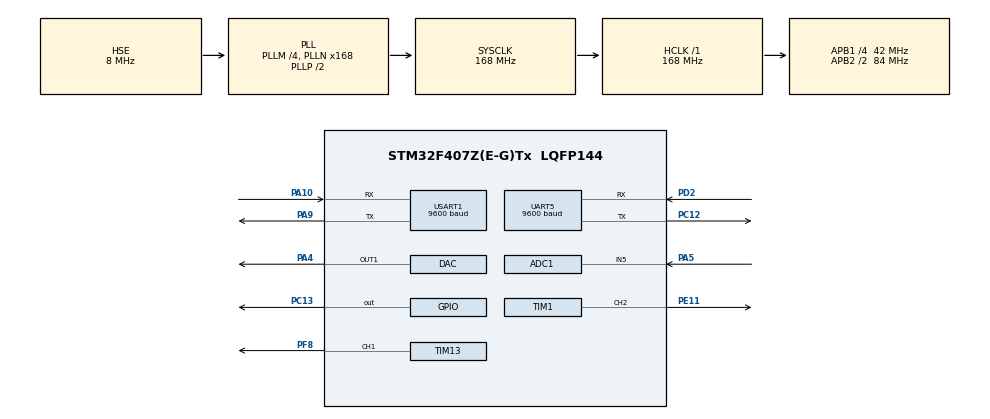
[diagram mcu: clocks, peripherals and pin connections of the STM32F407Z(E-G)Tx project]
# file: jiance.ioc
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ADC1.Channel-0\#ChannelRegularConversion=ADC_CHANNEL_5
ADC1.ClockPrescaler=ADC_CLOCK_SYNC_PCLK_DIV8
ADC1.ContinuousConvMode=DISABLE
ADC1.DMAContinuousRequests=ENABLE
ADC1.ExternalTrigConv=ADC_EXTERNALTRIGCONV_T3_TRGO
ADC1.NbrOfConversionFlag=1
ADC1.Rank-0\#ChannelRegularConversion=1
ADC1.SamplingTime-0\#ChannelRegularConversion=ADC_SAMPLETIME_480CYCLES
ADC1.master=1
DAC.DAC_Trigger=DAC_TRIGGER_T6_TRGO
Dma.ADC1.0.Direction=DMA_PERIPH_TO_MEMORY
Dma.ADC1.0.FIFOMode=DMA_FIFOMODE_DISABLE
Dma.ADC1.0.Instance=DMA2_Stream0
Dma.ADC1.0.MemDataAlignment=DMA_MDATAALIGN_HALFWORD
Dma.ADC1.0.MemInc=DMA_MINC_ENABLE
Dma.ADC1.0.Mode=DMA_CIRCULAR
Dma.ADC1.0.PeriphDataAlignment=DMA_PDATAALIGN_HALFWORD
Dma.ADC1.0.PeriphInc=DMA_PINC_DISABLE
Dma.ADC1.0.Priority=DMA_PRIORITY_HIGH
Dma.DAC1.2.Direction=DMA_MEMORY_TO_PERIPH
Dma.DAC1.2.FIFOMode=DMA_FIFOMODE_DISABLE
Dma.DAC1.2.Instance=DMA1_Stream5
Dma.DAC1.2.MemDataAlignment=DMA_MDATAALIGN_HALFWORD
Dma.DAC1.2.MemInc=DMA_MINC_ENABLE
Dma.DAC1.2.Mode=DMA_CIRCULAR
Dma.DAC1.2.PeriphDataAlignment=DMA_PDATAALIGN_HALFWORD
Dma.DAC1.2.PeriphInc=DMA_PINC_DISABLE
Dma.DAC1.2.Priority=DMA_PRIORITY_HIGH
Dma.Request0=ADC1
Dma.Request1=TIM1_CH2
Dma.Request2=DAC1
Dma.TIM1_CH2.1.Direction=DMA_MEMORY_TO_PERIPH
Dma.TIM1_CH2.1.FIFOMode=DMA_FIFOMODE_DISABLE
Dma.TIM1_CH2.1.Instance=DMA2_Stream2
Dma.TIM1_CH2.1.MemDataAlignment=DMA_MDATAALIGN_HALFWORD
Dma.TIM1_CH2.1.MemInc=DMA_MINC_ENABLE
Dma.TIM1_CH2.1.Mode=DMA_NORMAL
Dma.TIM1_CH2.1.PeriphDataAlignment=DMA_PDATAALIGN_HALFWORD
Dma.TIM1_CH2.1.PeriphInc=DMA_PINC_DISABLE
Dma.TIM1_CH2.1.Priority=DMA_PRIORITY_HIGH
Mcu.Family=STM32F4
Mcu.Name=STM32F407Z(E-G)Tx
Mcu.Package=LQFP144
NVIC.DMA1_Stream5_IRQn=true\:0\:0\:false\:false\:true\:false\:true\:true
NVIC.DMA2_Stream0_IRQn=true\:0\:0\:false\:false\:true\:false\:true\:true
NVIC.DMA2_Stream2_IRQn=true\:0\:0\:false\:false\:true\:false\:true\:true
NVIC.PriorityGroup=NVIC_PRIORITYGROUP_4
NVIC.UART5_IRQn=true\:0\:0\:false\:false\:true\:true\:true\:true
NVIC.USART1_IRQn=true\:0\:0\:false\:false\:true\:true\:true\:true
PA10.Mode=Asynchronous
PA10.Signal=USART1_RX
PA13.Mode=Serial_Wire
PA13.Signal=SYS_JTMS-SWDIO
PA14.Mode=Serial_Wire
PA14.Signal=SYS_JTCK-SWCLK
PA4.Signal=COMP_DAC1_group
PA5.Signal=ADCx_IN5
PA9.Mode=Asynchronous
PA9.Signal=USART1_TX
PC12.Mode=Asynchronous
PC12.Signal=UART5_TX
PC13-ANTI_TAMP.Signal=GPIO_Output
PD2.Mode=Asynchronous
PD2.Signal=UART5_RX
PE11.Signal=S_TIM1_CH2
PF8.Signal=S_TIM13_CH1
PH0-OSC_IN.Mode=HSE-External-Oscillator
PH0-OSC_IN.Signal=RCC_OSC_IN
PH1-OSC_OUT.Mode=HSE-External-Oscillator
PH1-OSC_OUT.Signal=RCC_OSC_OUT
ProjectManager.HeapSize=0x200
ProjectManager.StackSize=0x400
ProjectManager.TargetToolchain=MDK-ARM V5.32
RCC.48MHZClocksFreq_Value=84000000
RCC.AHBFreq_Value=168000000
RCC.APB1CLKDivider=RCC_HCLK_DIV4
RCC.APB1Freq_Value=42000000
RCC.APB1TimFreq_Value=84000000
RCC.APB2CLKDivider=RCC_HCLK_DIV2
RCC.APB2Freq_Value=84000000
RCC.APB2TimFreq_Value=168000000
RCC.CortexFreq_Value=168000000
RCC.HCLKFreq_Value=168000000
RCC.HSE_VALUE=8000000
RCC.HSI_VALUE=16000000
RCC.LSE_VALUE=32768
RCC.PLLM=4
RCC.PLLN=168
RCC.PLLSourceVirtual=RCC_PLLSOURCE_HSE
RCC.SYSCLKFreq_VALUE=168000000
RCC.SYSCLKSource=RCC_SYSCLKSOURCE_PLLCLK
RCC.VCOOutputFreq_Value=336000000
SH.ADCx_IN5.0=ADC1_IN5,IN5
SH.COMP_DAC1_group.0=DAC_OUT1,DAC_OUT1
SH.S_TIM13_CH1.0=TIM13_CH1,PWM Generation1 CH1
SH.S_TIM1_CH2.0=TIM1_CH2,PWM Generation2 CH2
STMicroelectronics.X-CUBE-ALGOBUILD.1.3.0.LibraryCcDSPOoLibraryJjDSPOoLibrary=true
TIM1.AutoReloadPreload=TIM_AUTORELOAD_PRELOAD_ENABLE
TIM1.Channel-PWM\ Generation2\ CH2=TIM_CHANNEL_2
TIM1.Period=209
TIM1.Prescaler=0
TIM1.TIM_MasterOutputTrigger=TIM_TRGO_RESET
TIM13.AutoReloadPreload=TIM_AUTORELOAD_PRELOAD_ENABLE
TIM13.Channel=TIM_CHANNEL_1
TIM13.Period=999
TIM13.Prescaler=83
TIM13.Pulse=499
TIM3.Period=99
TIM3.Prescaler=83
TIM3.TIM_MasterOutputTrigger=TIM_TRGO_UPDATE
TIM6.AutoReloadPreload=TIM_AUTORELOAD_PRELOAD_ENABLE
TIM6.Period=839
TIM6.Prescaler=0
TIM6.TIM_MasterOutputTrigger=TIM_TRGO_UPDATE
UART5.BaudRate=9600
UART5.VirtualMode=Asynchronous
USART1.BaudRate=9600
USART1.VirtualMode=VM_ASYNC
VP_STMicroelectronics.X-CUBE-ALGOBUILD_VS_DSPOoLibraryJjLibrary_1.3.0_1.3.0.Mode=DSPOoLibraryJjLibrary
VP_TIM13_VS_ClockSourceINT.Mode=Enable_Timer
VP_TIM1_VS_ClockSourceINT.Mode=Internal
VP_TIM3_VS_ClockSourceINT.Mode=Internal
VP_TIM6_VS_ClockSourceINT.Mode=Enable_Timer
board=custom

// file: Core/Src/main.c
/* USER CODE BEGIN Header */
/**
  ******************************************************************************
  * @file           : main.c
  * @brief          : Main program body
  ******************************************************************************
  * @attention
  *
  * Copyright (c) 2025 STMicroelectronics.
  * All rights reserved.
  *
  * This software is licensed under terms that can be found in the LICENSE file
  * in the root directory of this software component.
  * If no LICENSE file comes with this software, it is provided AS-IS.
  *
  ******************************************************************************
  */
/* USER CODE END Header */
#include "main.h"
#include "adc.h"
#include "dac.h"
#include "dma.h"
#include "tim.h"
#include "usart.h"
#include "gpio.h"

/* USER CODE BEGIN Includes */
#include "stdio.h"
#include "arm_math.h"
#include "TJC.h"
#include "FFT.h"
#include "warnning.h"
#include "Wave.h"
/* USER CODE END Includes */

/* USER CODE BEGIN PD */
#define ADC_BUFFER_SIZE 256                     // ADC采样点数
#define VREF 3.3f                               // 基准电压
#define DataREF 4095.0f

/* USER CODE END PD */

/* USER CODE BEGIN PV */

uint8_t   usart5_rx_data[4];
uint16_t  adcBuf0[ADC_BUFFER_SIZE];
uint16_t  adcBuf1[ADC_BUFFER_SIZE];

FFT_ParameterTypeDef fftParam;

float    voltage = 0.0;
volatile uint8_t FlagDma = 0;                               // DMA传输完成标志位
volatile uint8_t FlagTrs = 0;                               // 开始检测标志位
volatile uint8_t FlagHalf = 0;                              // 半缓冲完成标志位
volatile uint8_t processingBuf = 0;

/* USER CODE END PV */

void SystemClock_Config(void);

/* USER CODE BEGIN 0 */

int fputc(int ch, FILE *f)
{
    HAL_UART_Transmit(&huart1, (uint8_t*)&ch, 1, HAL_MAX_DELAY);
    return ch;
}
/* USER CODE END 0 */

int main(void)
{

  /* MCU Configuration--------------------------------------------------------*/

  /* Reset of all peripherals, Initializes the Flash interface and the Systick. */
  HAL_Init();

  /* Configure the system clock */
  SystemClock_Config();

  /* Initialize all configured peripherals */
  MX_GPIO_Init();
  MX_DMA_Init();
  MX_UART5_Init();
  MX_TIM1_Init();
  MX_USART1_UART_Init();
  MX_TIM13_Init();
  MX_ADC1_Init();
  MX_TIM3_Init();
  MX_DAC_Init();
  MX_TIM6_Init();
  /* USER CODE BEGIN 2 */

//	WS2812B_Init();
	WS2812B_Init();
	HAL_ADC_Start_DMA(&hadc1, (uint32_t*)adcBuf0, ADC_BUFFER_SIZE);        // 开启ADC-DMA
	HAL_TIM_Base_Start(&htim3);                                           // 开启时钟
	HAL_UART_Receive_IT(&huart5, usart5_rx_data, 4);                     // 开启uart中断
  WS2812B_Light(0,NONE);
  /* USER CODE END 2 */

  /* Infinite loop */
  while (1)
  {

    /* USER CODE BEGIN 3 */

//		WAVE_Start();
			float32_t SNR = 0.0f;
		  float32_t THD = 0.0f;
			//DMA双缓冲计算参数
			if(FlagHalf == 1)
			{
					fftParam.adcBuf = adcBuf0;
					FFT_Process(&fftParam);

					FlagHalf = 0;
			}
			else if(FlagHalf == 2)
			{
					fftParam.adcBuf = adcBuf1;
					FFT_Process(&fftParam);

					FlagHalf = 0;
			}

			//接收到串口发送请求，就发送数据到串口屏
			if(FlagTrs == 1)
			{
					if(fftParam.snr > 20.0f && fftParam.snr < 40.0f && fftParam.thd > 0.0f && fftParam.thd < 8.0f)
					{
						SNR = fftParam.snr + 5.0f;

						THD = fftParam.thd - 1.0f;
					}else
					{
						SNR = fftParam.snr + 15.0f;
						THD = fftParam.thd - 15.0f;
					}

					TJC_printf(0,SNR);
					TJC_printf(1,THD);

					if(SNR < 20 && THD > 10)              //低于阀值报警
					{
							buzzer_start();
							WS2812B_Light(2,RED);
					}
					else if(SNR > 20 && THD < 10)
					{
							buzzer_stop();
							WS2812B_Light(0,GREEN);
					}
					else
					{
							buzzer_stop();
							WS2812B_Light(1,ORANGE);
					}

					HAL_Delay(250);
			}
			else if(FlagTrs == 3)
			{
					TJC_Screen();
					while(FlagTrs == 3){}
					TJC_Spectrum(&fftParam);
					FlagTrs = 3;

					HAL_Delay(250);

			}else
			{
				WS2812B_Light(0,NONE);
				buzzer_stop();
			}

  }
  /* USER CODE END 3 */
}

void SystemClock_Config(void)
{
  RCC_OscInitTypeDef RCC_OscInitStruct = {0};
  RCC_ClkInitTypeDef RCC_ClkInitStruct = {0};

  /** Configure the main internal regulator output voltage
  */
  __HAL_RCC_PWR_CLK_ENABLE();
  __HAL_PWR_VOLTAGESCALING_CONFIG(PWR_REGULATOR_VOLTAGE_SCALE1);

  /** Initializes the RCC Oscillators according to the specified parameters
  * in the RCC_OscInitTypeDef structure.
  */
  RCC_OscInitStruct.OscillatorType = RCC_OSCILLATORTYPE_HSE;
  RCC_OscInitStruct.HSEState = RCC_HSE_ON;
  RCC_OscInitStruct.PLL.PLLState = RCC_PLL_ON;
  RCC_OscInitStruct.PLL.PLLSource = RCC_PLLSOURCE_HSE;
  RCC_OscInitStruct.PLL.PLLM = 4;
  RCC_OscInitStruct.PLL.PLLN = 168;
  RCC_OscInitStruct.PLL.PLLP = RCC_PLLP_DIV2;
  RCC_OscInitStruct.PLL.PLLQ = 4;
  if (HAL_RCC_OscConfig(&RCC_OscInitStruct) != HAL_OK)
  {
    Error_Handler();
  }

  /** Initializes the CPU, AHB and APB buses clocks
  */
  RCC_ClkInitStruct.ClockType = RCC_CLOCKTYPE_HCLK|RCC_CLOCKTYPE_SYSCLK
                              |RCC_CLOCKTYPE_PCLK1|RCC_CLOCKTYPE_PCLK2;
  RCC_ClkInitStruct.SYSCLKSource = RCC_SYSCLKSOURCE_PLLCLK;
  RCC_ClkInitStruct.AHBCLKDivider = RCC_SYSCLK_DIV1;
  RCC_ClkInitStruct.APB1CLKDivider = RCC_HCLK_DIV4;
  RCC_ClkInitStruct.APB2CLKDivider = RCC_HCLK_DIV2;

  if (HAL_RCC_ClockConfig(&RCC_ClkInitStruct, FLASH_LATENCY_5) != HAL_OK)
  {
    Error_Handler();
  }
}

/* USER CODE BEGIN 4 */

void HAL_UART_RxCpltCallback(UART_HandleTypeDef *huart)
{
    if (huart->Instance == UART5)
    {

			if(usart5_rx_data[0] == 0x02 )
      {
					FlagTrs = 1;
			}
			else if(usart5_rx_data[0] == 0x03 )
			{
					FlagTrs = 0;
			}
			else if(usart5_rx_data[0] == 0x04 )
			{
					FlagTrs = 3;
			}
			else if(usart5_rx_data[0] == 0xFE )
			{
					FlagTrs = 4;
      }
			HAL_UART_Receive_IT(huart, usart5_rx_data, 4);
    }
}

//DMA双缓冲

void HAL_ADC_ConvCpltCallback(ADC_HandleTypeDef* hadc)
{
  if (hadc->Instance == ADC1)
  {
		uint16_t* nextBuf = 0;
		if(FlagHalf == 0)                       // 等数据处理完再转换
		{
			if(processingBuf == 0)
			{
				FlagHalf = 1;
				processingBuf ^= 1;
				nextBuf = adcBuf1;
			}
			else
			{
				FlagHalf = 2;
				processingBuf ^= 1;
				nextBuf = adcBuf0;
			}

			HAL_ADC_Stop_DMA(&hadc1);  // 先停止
			HAL_ADC_Start_DMA(&hadc1, (uint32_t*)nextBuf, ADC_BUFFER_SIZE); // 再启动
		}

  }
}

/* USER CODE END 4 */

void Error_Handler(void)
{
  __disable_irq();
  while (1)
  {
  }
}
